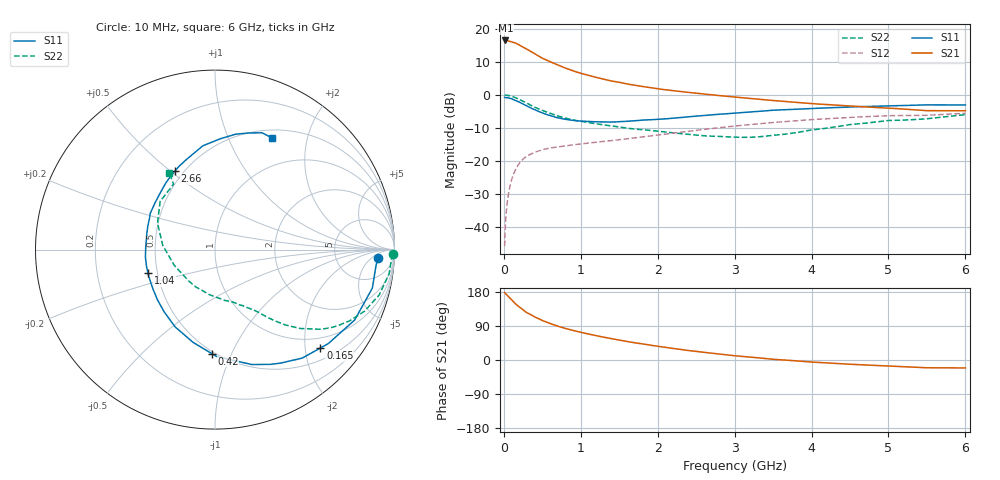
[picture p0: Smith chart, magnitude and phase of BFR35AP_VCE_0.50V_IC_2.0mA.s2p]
! Infineon Technologies  Discrete & RF Semiconductors
! BFR35AP
! VCE = 0.50 V,  IC =  2.0 mA
! Common Emitter S-Parameters:  Nov 2015
# GHz  S  MA  R  50
!  f  S11  S21  S12  S22
! GHz  MAG  ANG  MAG  ANG  MAG  ANG  MAG  ANG
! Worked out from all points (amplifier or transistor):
!   210 points, 10 MHz to 6 GHz, reference 50 ohm
!   highest |S21| = 16.4 dB at 20 MHz (marker M1)
!   |S21| within 3 dB of that: start of sweep to 326.8 MHz
!   unconditionally stable (mu >= 1): 995.8 MHz to end of sweep
!   at 185 MHz: K = 0.24, MSG = 18.3 dB, |S12| = -21.3 dB
!   at 1.52 GHz: K = 1.23, MAG = 5.7 dB, |S12| = -13.6 dB
!   at 6 GHz: K = 1.10, MAG = -1.5 dB, |S12| = -5.6 dB
!   S11 on the Smith chart (normalised r, x): 10 MHz: 17, -9; 165 MHz: 0.75, -2.33; 420 MHz: 0.48, -0.84; 1.04 GHz: 0.44, -0.14; 2.66 GHz: 0.45, +0.52; 6 GHz: 0.60, +1.46
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0.01  0.9101 -2.8  6.527 178.2  0.0051 88.4  0.9926 -1.5
0.02  0.9016 -5.6  6.615 175.6  0.0106 86.3  0.9842 -3.2
0.05  0.9026 -13.7  6.56 169.2  0.0264 81.6  0.9793 -7.9
0.1  0.8717 -26.7  6.325 159.2  0.0513 74.2  0.9494 -15.4
0.15  0.8201 -39.7  6.073 148.3  0.0731 66.6  0.901 -22.4
0.165  0.8034 -43.0  5.934 145.9  0.0785 64.6  0.8845 -24.0
0.24  0.7308 -59.9  5.319 133.6  0.1031 56.5  0.8058 -31.7
0.3  0.6723 -72.3  4.888 124.7  0.1177 51.6  0.7411 -36.8
0.42  0.5798 -91.8  4.049 112.1  0.1367 44.2  0.6327 -43.5
0.5  0.5311 -103.3  3.564 104.2  0.1468 40.7  0.5768 -46.8
0.6  0.4848 -117.2  3.159 96.2  0.1559 37.9  0.5226 -49.8
0.7  0.4481 -129.1  2.825 89.3  0.162 36.1  0.4771 -52.3
0.8  0.4249 -139.2  2.527 83.3  0.1683 35.1  0.4416 -54.2
1.02  0.3969 -158.9  2.075 72.2  0.1809 33.8  0.3919 -58.2
1.04  0.3954 -160.6  2.045 71.3  0.1821 33.8  0.3883 -58.6
1.4  0.3858 172.8  1.611 56.2  0.202 33.4  0.3373 -66.1
2.02  0.4248 141.2  1.22 35.8  0.2473 34.2  0.2782 -82.4
2.66  0.4917 117.0  1.006 19.0  0.3037 31.6  0.2366 -109.8
3.1  0.5354 105.4  0.899 9.5  0.3439 27.8  0.2262 -135.1
4.1  0.6246 85.7  0.72 -6.5  0.426 16.9  0.3013 170.6
5.1  0.6809 72.6  0.616 -16.8  0.4817 4.2  0.409 135.3
6  0.6989 62.9  0.571 -20.9  0.5224 -4.7  0.4986 120.8
